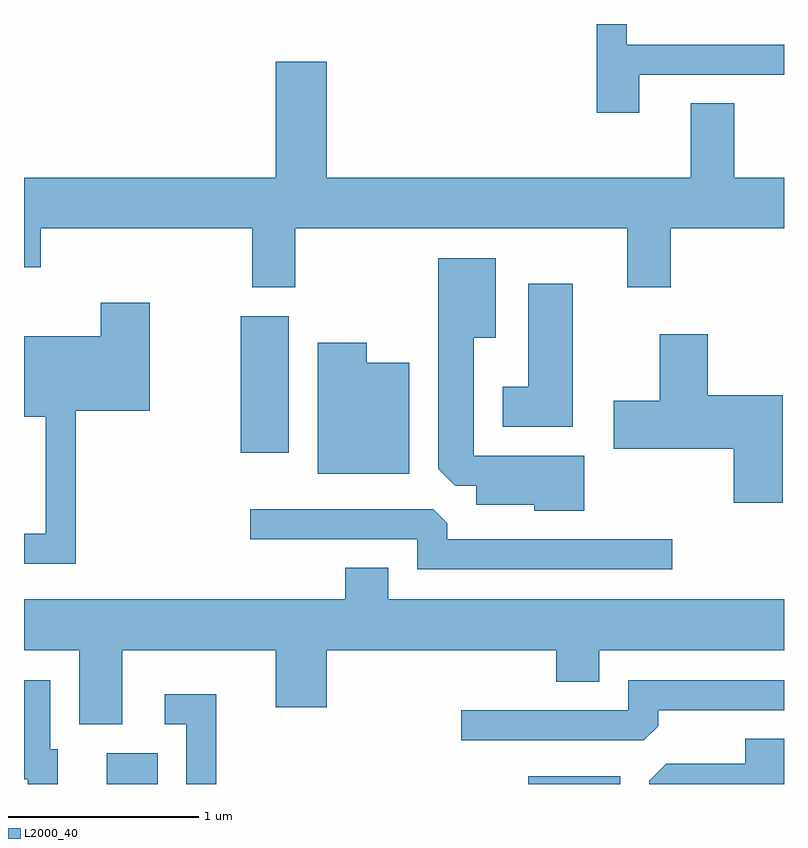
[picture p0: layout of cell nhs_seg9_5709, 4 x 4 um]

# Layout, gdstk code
import gdstk
lib = gdstk.Library(unit=1e-6, precision=1e-09)
def R(c, l, rs):  # rectangles x0, y0, x1, y1
    for r in rs: c.add(gdstk.rectangle(r[:2], r[2:], *l))
def P(c, l, *ps):  # polygons
    for p in ps: c.add(gdstk.Polygon(p, *l))
L2000_40 = (2000, 40)

nhs_seg9_5709 = lib.new_cell('nhs_seg9_5709')
R(nhs_seg9_5709, L2000_40, [(354.046,2004.432,354.314,2004.594), (356.266,2004.432,356.749,2004.474), (354.751,2006.176,355.004,2006.894)])
P(nhs_seg9_5709, L2000_40, [(356.849,2008.166),(357.611,2008.166),(357.611,2008.324),(356.784,2008.324),(356.784,2008.432),(356.626,2008.432),(356.626,2007.966),(356.849,2007.966)],
  [(355.039,2007.356),(356.786,2007.356),(356.786,2007.046),(357.014,2007.046),(357.014,2007.356),(357.611,2007.356),(357.611,2007.624),(357.349,2007.624),(357.349,2008.014),(357.121,2008.014),(357.121,2007.624),(355.204,2007.624),(355.204,2008.234),(354.936,2008.234),(354.936,2007.624),(353.611,2007.624),(353.611,2007.151),(353.699,2007.151),(353.699,2007.356),(354.811,2007.356),(354.811,2007.046),(355.039,2007.046)],
  [(356.559,2006.159),(355.979,2006.159),(355.979,2006.781),(356.094,2006.781),(356.094,2007.199),(355.791,2007.199),(355.791,2006.092),(355.882,2006.001),(355.991,2006.001),(355.991,2005.901),(356.296,2005.901),(356.296,2005.871),(356.559,2005.871)],
  [(356.499,2007.064),(356.266,2007.064),(356.266,2006.524),(356.131,2006.524),(356.131,2006.311),(356.499,2006.311)],
  [(353.884,2006.396),(354.274,2006.396),(354.274,2006.964),(354.016,2006.964),(354.016,2006.789),(353.611,2006.789),(353.611,2006.366),(353.726,2006.366),(353.726,2005.749),(353.611,2005.749),(353.611,2005.591),(353.884,2005.591)],
  [(357.604,2006.479),(357.209,2006.479),(357.209,2006.799),(356.956,2006.799),(356.956,2006.449),(356.716,2006.449),(356.716,2006.196),(357.346,2006.196),(357.346,2005.911),(357.604,2005.911)],
  [(355.639,2006.649),(355.414,2006.649),(355.414,2006.754),(355.156,2006.754),(355.156,2006.066),(355.639,2006.066)],
  [(357.023,2005.719),(355.839,2005.719),(355.839,2005.804),(355.764,2005.879),(354.803,2005.879),(354.803,2005.721),(355.681,2005.721),(355.681,2005.561),(357.023,2005.561)],
  [(354.129,2005.136),(354.936,2005.136),(354.936,2004.836),(355.204,2004.836),(355.204,2005.136),(356.411,2005.136),(356.411,2004.971),(356.639,2004.971),(356.639,2005.136),(357.611,2005.136),(357.611,2005.404),(355.529,2005.404),(355.529,2005.569),(355.301,2005.569),(355.301,2005.404),(353.611,2005.404),(353.611,2005.136),(353.901,2005.136),(353.901,2004.746),(354.129,2004.746)],
  [(353.789,2004.614),(353.749,2004.614),(353.749,2004.979),(353.611,2004.979),(353.611,2004.456),(353.631,2004.456),(353.631,2004.432),(353.789,2004.432)],
  [(356.949,2004.737),(356.949,2004.821),(357.611,2004.821),(357.611,2004.979),(356.791,2004.979),(356.791,2004.819),(355.913,2004.819),(355.913,2004.661),(356.874,2004.661)],
  [(354.624,2004.904),(354.353,2004.904),(354.353,2004.746),(354.466,2004.746),(354.466,2004.432),(354.624,2004.432)],
  [(357.611,2004.669),(357.406,2004.669),(357.406,2004.539),(356.992,2004.539),(356.901,2004.449),(356.901,2004.432),(357.611,2004.432)])

lib.write_gds('nhs_seg9_5709.gds')
